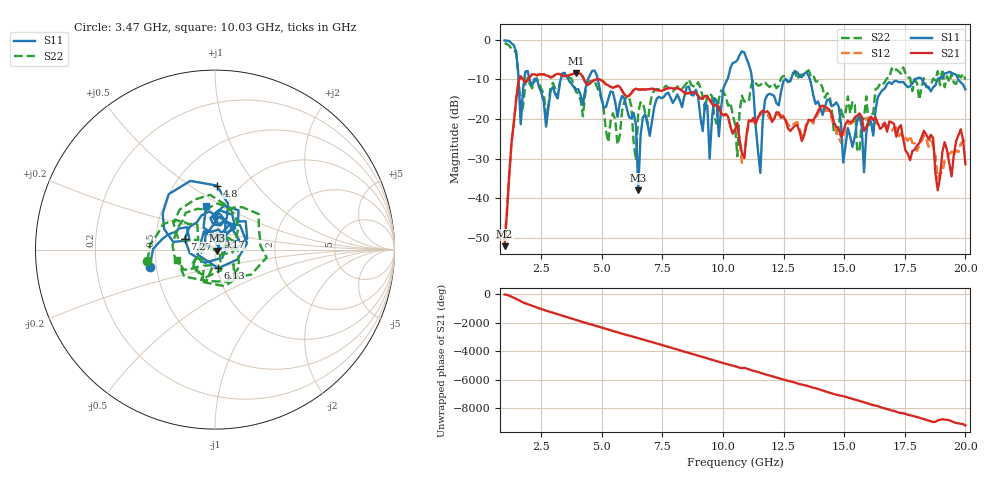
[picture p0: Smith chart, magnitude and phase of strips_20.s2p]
!Agilent Technologies,N5230A,MY45001629,A.07.50.67
!Agilent N5230A: A.07.50.67
!Date: Monday, June 05, 2017 16:34:20
!Correction: S11(Full 2 Port(1,2))
!S21(Full 2 Port(1,2))
!S12(Full 2 Port(1,2))
!S22(Full 2 Port(1,2))
!S2P File: Measurements: S11, S21, S12, S22:
# Hz S  dB  R 50
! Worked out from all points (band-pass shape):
!   201 points, 1 GHz to 20 GHz, reference 50 ohm
!   highest |S21| = -8.49 dB at 3.945 GHz (marker M1); lowest = -52.1 dB at 1 GHz (marker M2)
!   |S21| within 3 dB of the highest: 1.553 GHz to 5.261 GHz (3.707 GHz wide, 109 % of centre)
!   lowest |S11| = -38.0 dB at 6.51 GHz (marker M3), VSWR 1.03, Z = 51.2 - j0.515 ohm
!   |S11| at or under -10 dB: 4.839 GHz to 10.19 GHz (5.35 GHz wide, 71.2 % of centre); 11.2 GHz to 12.58 GHz (1.38 GHz wide, 11.6 % of centre); 13.58 GHz to 17.91 GHz (4.325 GHz wide, 27.5 % of centre)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
!   |S22| runs from -30.4 to -0.9 dB; largest |S21 - S12| = 0.037
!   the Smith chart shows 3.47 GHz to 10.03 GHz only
!   S11 on the Smith chart (normalised r, x): 3.47 GHz: 0.46, -0.10; 4.8 GHz: 0.79, +0.64; 6.13 GHz: 1.01, -0.21; 7.27 GHz: 0.71, +0.09; 9.17 GHz: 1.02, +0.14; 10.03 GHz: 0.81, +0.42
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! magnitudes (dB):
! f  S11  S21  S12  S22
! 1 GHz  -0.2  -52.1  -50.7  -0.9
! 1.57 GHz  -9.0  -10.7  -10.7  -8.7
! 2.71 GHz  -22.0  -9.0  -9.0  -19.0
! 3.47 GHz  -8.5  -9.2  -9.2  -8.4
! 3.945 GHz  -12.6  -8.5  -8.5  -13.2
! 4.23 GHz  -16.4  -9.4  -9.4  -19.4
! 4.8 GHz  -8.9  -10.1  -10.1  -11.9
! 5.275 GHz  -15.0  -11.5  -11.5  -25.8
! 6.13 GHz  -19.6  -14.2  -14.1  -14.6
! 6.51 GHz  -38.0  -12.6  -12.6  -18.4
! 7.27 GHz  -14.9  -12.7  -12.7  -12.5
! 7.365 GHz  -14.4  -12.8  -12.9  -12.5
! 9.17 GHz  -23.1  -14.8  -14.9  -14.5
! 10.03 GHz  -12.2  -19.2  -19.1  -13.3
! 10.5 GHz  -5.7  -22.8  -22.8  -21.3
! 11.16 GHz  -8.3  -20.7  -20.4  -11.6
! 11.54 GHz  -33.6  -18.5  -19.0  -11.5
! 11.83 GHz  -14.0  -18.0  -18.9  -11.5
! 13.73 GHz  -14.1  -20.4  -21.2  -9.0
! 15.82 GHz  -33.5  -23.1  -21.1  -19.7
! 16.86 GHz  -10.7  -20.6  -22.4  -9.6
! 20 GHz  -12.6  -31.4  -24.9  -10.1
